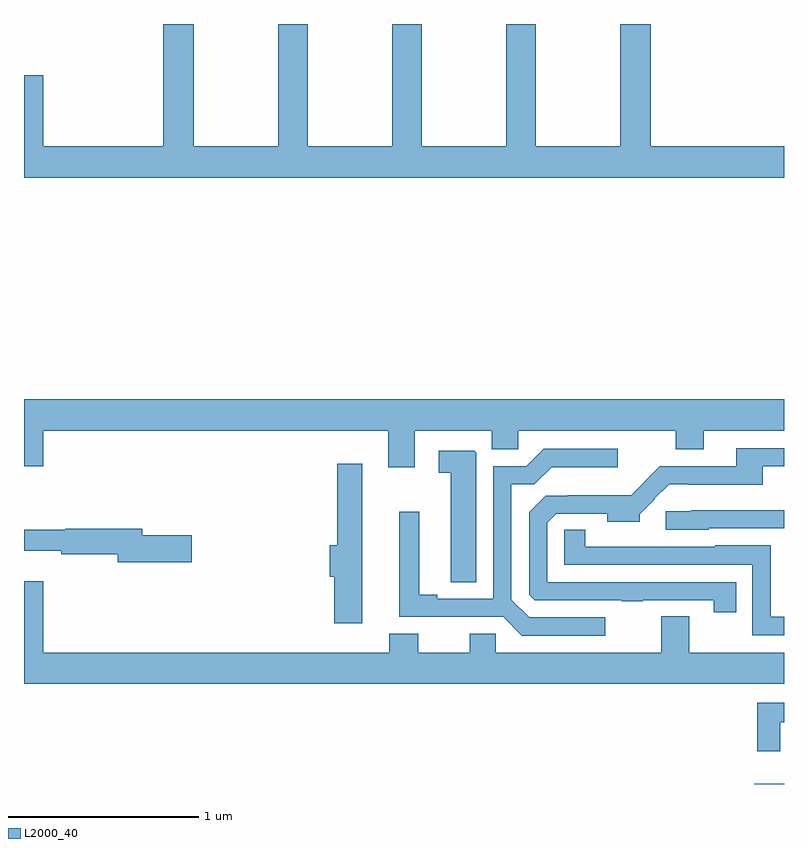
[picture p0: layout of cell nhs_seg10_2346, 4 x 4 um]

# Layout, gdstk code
import gdstk
lib = gdstk.Library(unit=1e-6, precision=1e-09)
def R(c, l, rs):  # rectangles x0, y0, x1, y1
    for r in rs: c.add(gdstk.rectangle(r[:2], r[2:], *l))
def P(c, l, *ps):  # polygons
    for p in ps: c.add(gdstk.Polygon(p, *l))
L2000_40 = (2000, 40)

nhs_seg10_2346 = lib.new_cell('nhs_seg10_2346')
R(nhs_seg10_2346, L2000_40, [(240.843,1254.5,241,1254.502)])
P(nhs_seg10_2346, L2000_40, [(241,1257.856),(240.299,1257.856),(240.299,1258.5),(240.139,1258.5),(240.139,1257.856),(239.694,1257.856),(239.694,1258.5),(239.539,1258.5),(239.539,1257.856),(239.094,1257.856),(239.094,1258.5),(238.939,1258.5),(238.939,1257.856),(238.494,1257.856),(238.494,1258.5),(238.339,1258.5),(238.339,1257.856),(237.894,1257.856),(237.894,1258.5),(237.734,1258.5),(237.734,1257.856),(237.1,1257.856),(237.1,1258.231),(237,1258.231),(237,1257.692),(241,1257.692)],
  [(239.056,1256.36),(239.462,1256.36),(239.462,1256.262),(239.601,1256.262),(239.601,1256.36),(240.43,1256.36),(240.43,1256.261),(240.577,1256.261),(240.577,1256.36),(241,1256.36),(241,1256.524),(237,1256.524),(237,1256.172),(237.1,1256.172),(237.1,1256.36),(238.916,1256.36),(238.916,1256.166),(239.056,1256.166)],
  [(240.749,1255.563),(239.754,1255.563),(239.754,1255.875),(239.802,1255.923),(240.071,1255.923),(240.071,1255.88),(240.242,1255.88),(240.242,1255.92),(240.321,1255.998),(240.318,1256.001),(240.395,1256.078),(240.496,1256.078),(240.496,1256.075),(240.889,1256.075),(240.889,1256.172),(241,1256.172),(241,1256.268),(240.749,1256.268),(240.749,1256.172),(240.345,1256.172),(240.269,1256.095),(240.271,1256.093),(240.197,1256.02),(239.863,1256.02),(239.863,1256.018),(239.747,1256.018),(239.658,1255.929),(239.658,1255.497),(239.688,1255.467),(240.145,1255.467),(240.145,1255.462),(240.257,1255.462),(240.257,1255.467),(240.631,1255.467),(240.631,1255.404),(240.749,1255.404)],
  [(240.058,1255.377),(239.658,1255.377),(239.565,1255.47),(239.565,1256.077),(239.686,1256.077),(239.777,1256.168),(240.124,1256.168),(240.124,1256.265),(239.736,1256.265),(239.643,1256.172),(239.469,1256.172),(239.469,1255.476),(239.176,1255.476),(239.176,1255.496),(239.08,1255.496),(239.08,1255.933),(238.976,1255.933),(238.976,1255.38),(239.522,1255.38),(239.621,1255.281),(240.058,1255.281)],
  [(239.38,1256.243),(239.37,1256.253),(239.184,1256.253),(239.184,1256.137),(239.246,1256.137),(239.246,1255.561),(239.38,1255.561)],
  [(238.78,1256.185),(238.649,1256.185),(238.649,1255.757),(238.61,1255.757),(238.61,1255.59),(238.634,1255.59),(238.634,1255.346),(238.78,1255.346)],
  [(240.603,1255.845),(241,1255.845),(241,1255.942),(240.513,1255.942),(240.513,1255.935),(240.378,1255.935),(240.378,1255.839),(240.603,1255.839)],
  [(237.883,1255.808),(237.622,1255.808),(237.622,1255.844),(237.218,1255.844),(237.218,1255.837),(237,1255.837),(237,1255.727),(237.196,1255.727),(237.196,1255.708),(237.494,1255.708),(237.494,1255.666),(237.883,1255.666)],
  [(241,1255.38),(240.93,1255.38),(240.93,1255.756),(240.639,1255.756),(240.639,1255.749),(240.207,1255.749),(240.207,1255.75),(239.953,1255.75),(239.953,1255.838),(239.844,1255.838),(239.844,1255.653),(240.834,1255.653),(240.834,1255.284),(241,1255.284)],
  [(241,1255.192),(240.501,1255.192),(240.501,1255.382),(240.353,1255.382),(240.353,1255.192),(239.484,1255.192),(239.484,1255.29),(239.345,1255.29),(239.345,1255.192),(239.074,1255.192),(239.074,1255.291),(238.922,1255.291),(238.922,1255.192),(237.1,1255.192),(237.1,1255.567),(237,1255.567),(237,1255.028),(241,1255.028)],
  [(240.979,1254.824),(241,1254.824),(241,1254.928),(240.858,1254.928),(240.858,1254.672),(240.979,1254.672)])

lib.write_gds('nhs_seg10_2346.gds')
